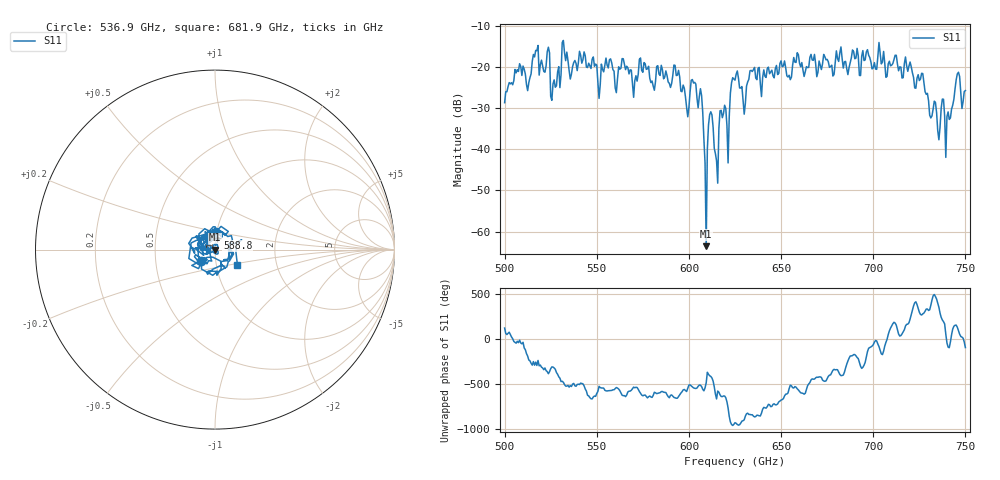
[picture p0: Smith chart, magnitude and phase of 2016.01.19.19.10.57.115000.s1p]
!Created with skrf (http://scikit-rf.org).
# GHz S RI R 50.0
!freq ReS11 ImS11
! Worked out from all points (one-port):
!   401 points, 500 GHz to 750 GHz, reference 50 ohm
!   lowest |S11| = -63.6 dB at 609.4 GHz (marker M1), VSWR 1.00, Z = 50 - j0.053 ohm
!   |S11| at or under -10 dB: start of sweep to end of sweep
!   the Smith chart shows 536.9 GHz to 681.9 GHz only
!   S11 on the Smith chart (normalised r, x): 536.9 GHz: 0.85, -0.11; 588.8 GHz: 1.02, +0.13; 681.9 GHz: 1.26, -0.22
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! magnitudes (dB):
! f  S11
! 500 GHz  -28.6
! 506.9 GHz  -20.6
! 513.1 GHz  -23.8
! 516.9 GHz  -15.9
! 526.2 GHz  -24.1
! 531.2 GHz  -14.0
! 536.9 GHz  -19.8
! 562.5 GHz  -20.5
! 588.8 GHz  -23.6
! 593.8 GHz  -21.9
! 598.8 GHz  -29.8
! 602.5 GHz  -23.8
! 606.2 GHz  -25.2
! 609.4 GHz  -63.6
! 611.9 GHz  -30.8
! 615 GHz  -42.8
! 617.5 GHz  -30.5
! 625 GHz  -23.1
! 629.4 GHz  -28.2
! 634.4 GHz  -21.0
! 656.2 GHz  -19.5
! 681.9 GHz  -16.5
! 687.5 GHz  -18.9
! 718.8 GHz  -21.0
! 735.6 GHz  -37.7
! 740.6 GHz  -30.9
! 745.6 GHz  -21.6
! 750 GHz  -25.7
